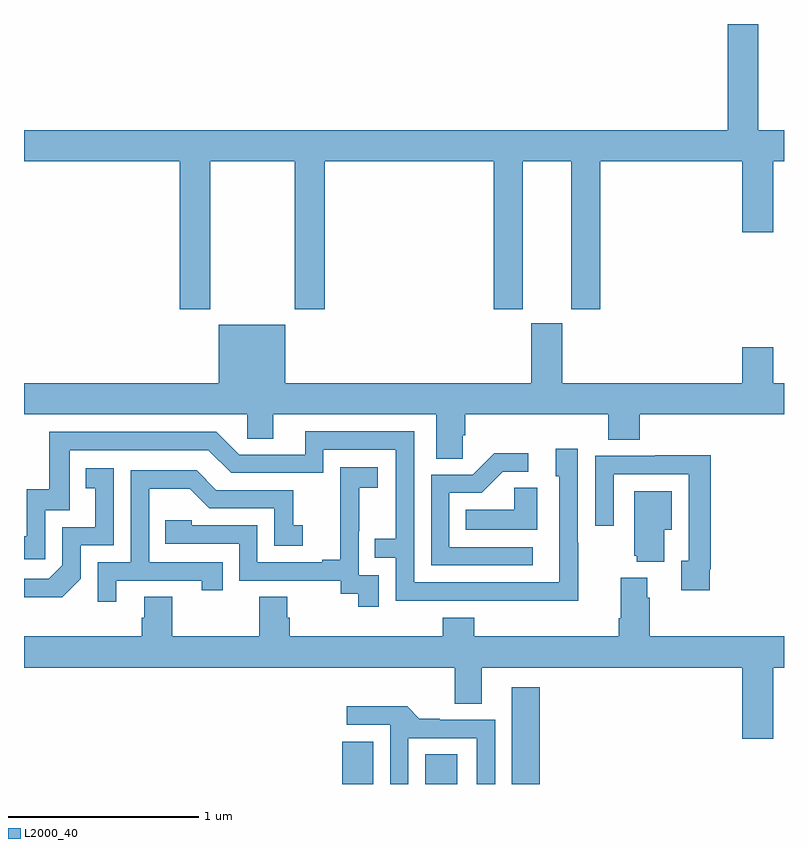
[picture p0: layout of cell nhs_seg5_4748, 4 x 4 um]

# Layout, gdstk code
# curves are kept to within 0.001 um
import gdstk
lib = gdstk.Library(unit=1e-6, precision=1e-09)
def R(c, l, rs):  # rectangles x0, y0, x1, y1
    for r in rs: c.add(gdstk.rectangle(r[:2], r[2:], *l))
def P(c, l, *ps):  # polygons
    for p in ps: c.add(gdstk.Polygon(p, *l))
L2000_40 = (2000, 40)

nhs_seg5_4748 = lib.new_cell('nhs_seg5_4748')
R(nhs_seg5_4748, L2000_40, [(390.674,870.799,390.838,871.021), (391.112,870.799,391.279,870.956), (391.568,870.799,391.715,871.309)])
P(nhs_seg5_4748, L2000_40, [(389.979,874.076),(390.424,874.076),(390.424,873.297),(390.584,873.297),(390.584,874.076),(391.472,874.076),(391.472,873.297),(391.624,873.297),(391.624,874.076),(391.88,874.076),(391.88,873.297),(392.033,873.297),(392.033,874.076),(392.78,874.076),(392.78,873.702),(392.944,873.702),(392.944,874.076),(393,874.076),(393,874.24),(392.865,874.24),(392.865,874.799),(392.705,874.799),(392.705,874.24),(389,874.24),(389,874.076),(389.819,874.076),(389.819,873.297),(389.979,873.297)],
  [(391.308,872.635),(391.322,872.635),(391.322,872.744),(392.075,872.744),(392.075,872.611),(392.24,872.611),(392.24,872.744),(393,872.744),(393,872.908),(392.944,872.908),(392.944,873.097),(392.78,873.097),(392.78,872.908),(391.834,872.908),(391.834,873.225),(391.67,873.225),(391.67,872.908),(390.376,872.908),(390.376,873.217),(390.026,873.217),(390.026,872.908),(389,872.908),(389,872.744),(390.174,872.744),(390.174,872.617),(390.313,872.617),(390.313,872.744),(391.169,872.744),(391.169,872.512),(391.308,872.512)],
  [(391.917,872.069),(391.914,872.069),(391.914,872.563),(391.799,872.563),(391.799,872.418),(391.818,872.418),(391.818,871.86),(391.053,871.86),(391.053,872.655),(390.479,872.655),(390.479,872.532),(390.132,872.532),(390.012,872.652),(389.133,872.652),(389.133,872.35),(389.015,872.35),(389.015,872.103),(389,872.103),(389,871.983),(389.112,871.983),(389.112,872.241),(389.241,872.241),(389.241,872.556),(389.97,872.556),(390.09,872.436),(390.576,872.436),(390.576,872.559),(390.957,872.559),(390.957,872.09),(390.847,872.09),(390.847,871.989),(390.957,871.989),(390.957,871.764),(391.917,871.763)],
  [(391.678,872.046),(391.239,872.046),(391.239,872.331),(391.408,872.331),(391.519,872.442),(391.654,872.442),(391.654,872.54),(391.475,872.54),(391.362,872.427),(391.143,872.427),(391.143,871.95),(391.678,871.95)],
  [(392.608,871.93),(392.615,871.93),(392.615,872.528),(392.323,872.528),(392.323,872.526),(392.007,872.526),(392.007,872.157),(392.103,872.157),(392.103,872.43),(392.499,872.43),(392.499,871.974),(392.459,871.974),(392.459,871.818),(392.608,871.818)],
  [(390.867,871.899),(390.762,871.899),(390.762,872.129),(390.764,872.129),(390.764,872.357),(390.862,872.357),(390.862,872.467),(390.664,872.467),(390.664,872.261),(390.665,872.261),(390.665,871.978),(390.569,871.978),(390.569,871.965),(390.228,871.965),(390.228,872.16),(389.883,872.16),(389.883,872.187),(389.743,872.187),(389.743,872.064),(390.132,872.064),(390.132,871.869),(390.666,871.869),(390.666,871.801),(390.759,871.801),(390.759,871.731),(390.867,871.731)],
  [(389.298,871.878),(389.298,872.055),(389.472,872.055),(389.472,872.461),(389.326,872.461),(389.326,872.355),(389.375,872.355),(389.375,872.151),(389.202,872.151),(389.202,871.95),(389.13,871.878),(389,871.878),(389,871.781),(389.2,871.781)],
  [(389.485,871.869),(389.936,871.869),(389.936,871.818),(390.047,871.818),(390.047,871.965),(389.658,871.965),(389.658,872.354),(389.872,872.354),(389.976,872.25),(390.318,872.25),(390.318,872.052),(390.466,872.052),(390.466,872.161),(390.417,872.161),(390.417,872.346),(390.013,872.346),(389.908,872.451),(389.562,872.451),(389.562,871.965),(389.388,871.965),(389.388,871.758),(389.485,871.758)],
  [(391.702,872.357),(391.581,872.357),(391.581,872.242),(391.324,872.242),(391.324,872.138),(391.702,872.138)],
  [(392.371,872.138),(392.41,872.138),(392.41,872.341),(392.213,872.341),(392.213,872.001),(392.225,872.001),(392.225,871.97),(392.371,871.97)],
  [(391.268,871.222),(391.408,871.222),(391.408,871.412),(392.78,871.412),(392.78,871.038),(392.944,871.038),(392.944,871.412),(393,871.412),(393,871.576),(392.294,871.576),(392.294,871.778),(392.281,871.778),(392.281,871.885),(392.141,871.885),(392.141,871.672),(392.129,871.672),(392.129,871.576),(391.37,871.576),(391.37,871.675),(391.205,871.675),(391.205,871.576),(390.398,871.576),(390.398,871.674),(390.385,871.674),(390.385,871.784),(390.238,871.784),(390.238,871.576),(389.781,871.576),(389.781,871.784),(389.633,871.784),(389.633,871.674),(389.621,871.674),(389.621,871.576),(389,871.576),(389,871.412),(391.268,871.412)],
  [(391.023,871.041),(391.383,871.041),(391.383,870.799),(391.479,870.799),(391.479,871.137),(391.189,871.137),(391.189,871.142),(391.081,871.142),(391.016,871.208),(390.699,871.208),(390.699,871.11),(390.927,871.11),(390.927,870.799),(391.023,870.799)])

lib.write_gds('nhs_seg5_4748.gds')
